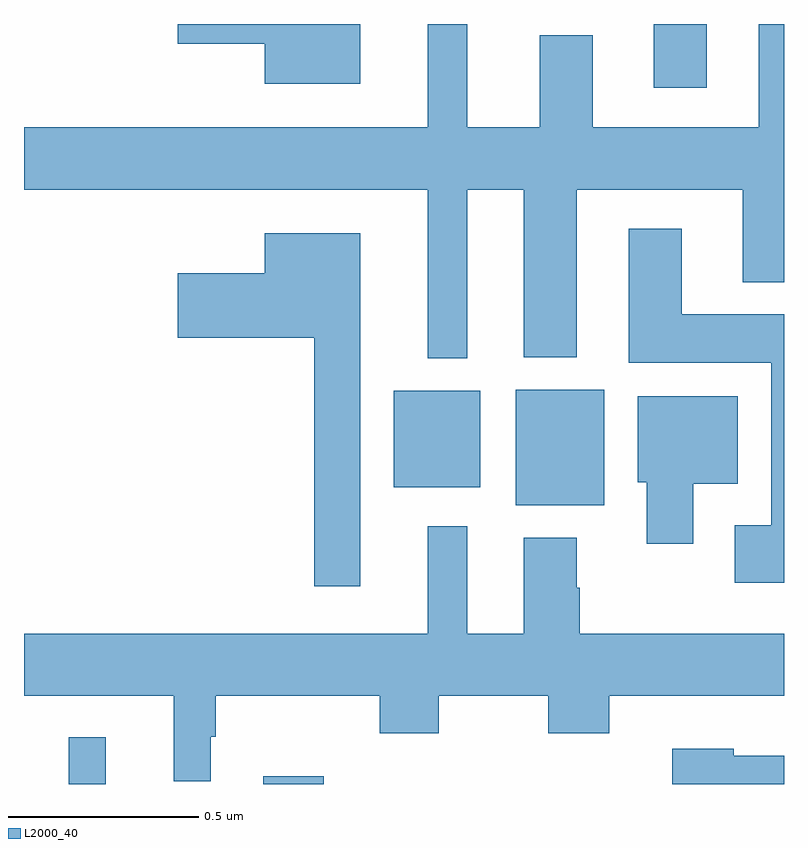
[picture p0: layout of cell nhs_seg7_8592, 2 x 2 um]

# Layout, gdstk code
import gdstk
lib = gdstk.Library(unit=1e-6, precision=1e-09)
def R(c, l, rs):  # rectangles x0, y0, x1, y1
    for r in rs: c.add(gdstk.rectangle(r[:2], r[2:], *l))
def P(c, l, *ps):  # polygons
    for p in ps: c.add(gdstk.Polygon(p, *l))
L2000_40 = (2000, 40)

nhs_seg7_8592 = lib.new_cell('nhs_seg7_8592')
R(nhs_seg7_8592, L2000_40, [(226.118,1051,226.215,1051.123), (226.629,1051,226.789,1051.021), (227.294,1051.733,227.527,1052.038), (226.973,1051.781,227.2,1052.035), (227.657,1052.832,227.797,1053)])
P(nhs_seg7_8592, L2000_40, [(226.885,1053),(226.404,1053),(226.404,1052.948),(226.634,1052.948),(226.634,1052.843),(226.885,1052.843)],
  [(227.167,1052.564),(227.315,1052.564),(227.315,1052.123),(227.455,1052.123),(227.455,1052.564),(227.891,1052.564),(227.891,1052.321),(228,1052.321),(228,1053),(227.933,1053),(227.933,1052.728),(227.497,1052.728),(227.497,1052.971),(227.357,1052.971),(227.357,1052.728),(227.167,1052.728),(227.167,1053),(227.063,1053),(227.063,1052.728),(226,1052.728),(226,1052.564),(227.063,1052.564),(227.063,1052.12),(227.167,1052.12)],
  [(228,1052.236),(227.731,1052.236),(227.731,1052.461),(227.591,1052.461),(227.591,1052.108),(227.966,1052.108),(227.966,1051.681),(227.871,1051.681),(227.871,1051.529),(228,1051.529)],
  [(226.885,1052.449),(226.634,1052.449),(226.634,1052.344),(226.404,1052.344),(226.404,1052.174),(226.764,1052.174),(226.764,1051.521),(226.885,1051.521)],
  [(227.761,1051.79),(227.878,1051.79),(227.878,1052.02),(227.615,1052.02),(227.615,1051.794),(227.639,1051.794),(227.639,1051.632),(227.761,1051.632)],
  [(226.492,1051.125),(226.504,1051.125),(226.504,1051.232),(226.936,1051.232),(226.936,1051.133),(227.091,1051.133),(227.091,1051.232),(227.38,1051.232),(227.38,1051.133),(227.54,1051.133),(227.54,1051.232),(228,1051.232),(228,1051.396),(227.463,1051.396),(227.463,1051.517),(227.455,1051.517),(227.455,1051.648),(227.315,1051.648),(227.315,1051.396),(227.167,1051.396),(227.167,1051.678),(227.063,1051.678),(227.063,1051.396),(226,1051.396),(226,1051.232),(226.394,1051.232),(226.394,1051.007),(226.492,1051.007)],
  [(228,1051.075),(227.868,1051.075),(227.868,1051.093),(227.706,1051.093),(227.706,1051),(228,1051)])

lib.write_gds('nhs_seg7_8592.gds')
